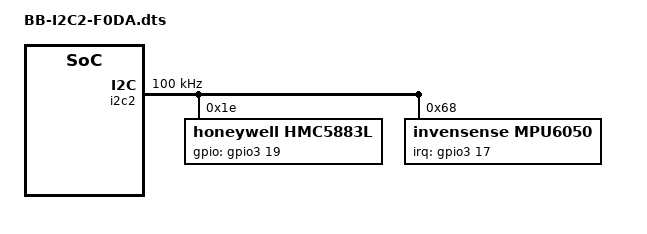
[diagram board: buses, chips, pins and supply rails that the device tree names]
/*
 * Copyright (C) 2013 CircuitCo
 *
 * Virtual cape for I2C2 on connector pins P9.19 P9.20
 *
 * This program is free software; you can redistribute it and/or modify
 * it under the terms of the GNU General Public License version 2 as
 * published by the Free Software Foundation.
 */
/dts-v1/;
/plugin/;

#include <dt-bindings/board/am335x-bbw-bbb-base.h>
#include <dt-bindings/gpio/gpio.h>
#include <dt-bindings/pinctrl/am33xx.h>


/ {
	compatible = "ti,beaglebone", "ti,beaglebone-black", "ti,beaglebone-green";

	/* identification */
	part-number = "BB-I2C2";
	version = "00A0";

	/* state the resources this cape uses */
	exclusive-use =
		/* the pin header uses */
		"P9.19",	/* i2c2_sda */
		"P9.20",	/* i2c2_scl */
		/* the hardware ip uses */
		"i2c2";

	fragment@0 {
		target = <&am33xx_pinmux>;
		__overlay__ {
                        bb_i2c2_pins: pinmux_bb_i2c2_pins {
                                pinctrl-single,pins = <
                                        BONE_P9_22 (SLEWCTRL_SLOW | PIN_INPUT_PULLUP | MUX_MODE2) /* spi0_d1.i2c2_sda */
                                        BONE_P9_21 (SLEWCTRL_SLOW | PIN_INPUT_PULLUP | MUX_MODE2) /* spi0_cs0.i2c2_scl */
                                >;
                        };

                        bb_gpio3_19_pins: pinmux_bb_gpio3_19_pins {
                                pinctrl-single,pins = <
                                        BONE_P9_27 (PIN_INPUT | MUX_MODE7) /* gpmc_csn0.gpio3_19 */
                                >;
                        };

                        bb_gpio3_17_pins: pinmux_bb_gpio3_17_pins {
                                pinctrl-single,pins = <
                                        BONE_P9_28 (PIN_INPUT | MUX_MODE7) /* gpmc_csn0.gpio3_17 */
                                >;
                        };

                        bb_push_buttom_pins: pinmux_bb_push_buttom_pins {
                                pinctrl-single,pins = <
					BONE_P8_12 (PIN_INPUT | MUX_MODE7) /* gpio2_2 */
                                >;
                        };


		};
	};

	fragment@1 {
		target = <&i2c2>;
		__overlay__ {
			status = "okay";
			pinctrl-names = "default";
			pinctrl-0 = <&bb_i2c2_pins>;

			/* this is the configuration part */
			clock-frequency = <100000>;

			#address-cells = <1>;
			#size-cells = <0>;

			/* add any i2c devices on the bus here */

			// commented out example of a touchscreen (taken from BB-BONE-LCD7-01-00A4) */
			// maxtouch@4a {
			//	compatible = "mXT224";
			//	reg = <0x4a>;
			//	interrupt-parent = <&gpio4>;
			//	interrupts = <19 0x0>;
			//	atmel,irq-gpio = <&gpio4 19 0>;
			// };

                        hmc5883l: mag@1e {
                                compatible = "honeywell,hmc5883l";
                                reg = <0x1e>;
                                gpios = <&gpio3 19  GPIO_ACTIVE_HIGH>;
                        };
                        mpu6050: imu@68 {
                                compatible = "invensense,mpu6050";
                                reg = <0x68>;
                                interrupt-parent = <&gpio3>;
                                interrupts = <17 1>;
                        };
		};
	};
};
